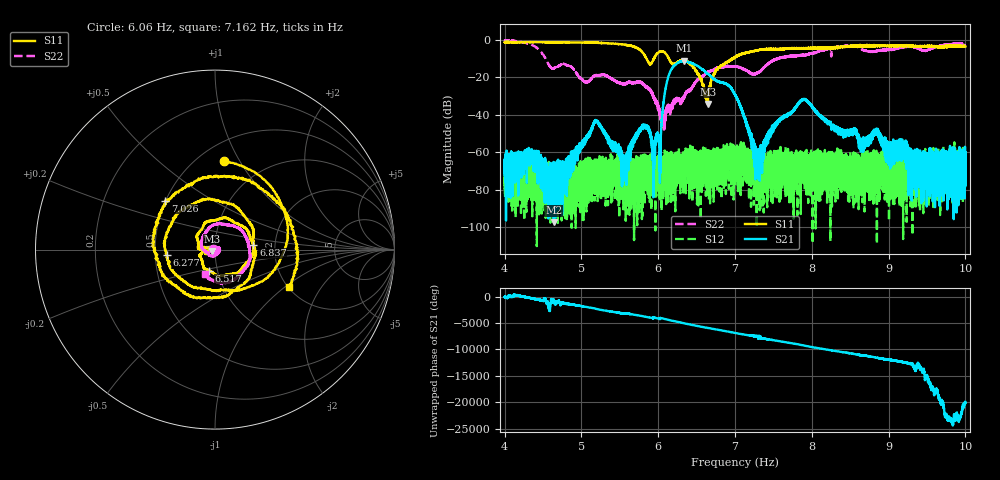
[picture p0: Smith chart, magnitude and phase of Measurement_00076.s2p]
!Created with skrf (http://scikit-rf.org).
# Hz S RI R 50.0
!freq ReS11 ImS11 ReS21 ImS21 ReS12 ImS12 ReS22 ImS22
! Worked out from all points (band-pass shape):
!   14001 points, 4 Hz to 10 Hz, reference 50 ohm
!   highest |S21| = -11.06 dB at 6.338 Hz (marker M1); lowest = -97.5 dB at 4.64 Hz (marker M2)
!   |S21| within 3 dB of the highest: 6.198524 Hz to 6.199294 Hz (770.4 uHz wide, 0.0124 % of centre); 6.199 Hz to 6.521 Hz (321.9 mHz wide, 5.06 % of centre) (the widest 2 of 3)
!   lowest |S11| = -34.2 dB at 6.644 Hz (marker M3), VSWR 1.04, Z = 48.3 - j0.963 ohm
!   |S11| at or under -10 dB: 5.849 Hz to 5.943 Hz (94.46 mHz wide, 1.6 % of centre); 6.141 Hz to 6.96 Hz (818.6 mHz wide, 12.5 % of centre); 6.96033 Hz to 6.962495 Hz (2.165 mHz wide, 0.0311 % of centre)
!   |S22| runs from -48.0 to -0.2 dB; largest |S21 - S12| = 0.28
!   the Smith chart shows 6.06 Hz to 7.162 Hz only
!   S11 on the Smith chart (normalised r, x): 6.06 Hz: 0.66, +0.86; 6.277 Hz: 0.57, -0.04; 6.517 Hz: 0.91, -0.22; 6.837 Hz: 1.54, +0.08; 7.026 Hz: 0.50, +0.32; 7.162 Hz: 2.02, -1.08
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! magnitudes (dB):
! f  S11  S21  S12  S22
! 4 Hz  -1.1  -69.7  -75.3  -0.2
! 4.64 Hz  -1.1  -97.5  -73.1  -15.1
! 5 Hz  -1.3  -56.8  -72.8  -20.9
! 5.19 Hz  -1.4  -43.6  -66.8  -18.8
! 5.559 Hz  -2.4  -67.5  -80.5  -23.4
! 5.802 Hz  -6.8  -45.9  -61.5  -23.5
! 6 Hz  -6.6  -51.0  -80.5  -35.5
! 6.06 Hz  -6.1  -36.7  -77.8  -40.2
! 6.139 Hz  -9.8  -18.5  -65.9  -36.3
! 6.277 Hz  -11.3  -11.7  -63.4  -31.5
! 6.338 Hz  -10.9  -11.1  -63.1  -31.1
! 6.517 Hz  -18.3  -13.9  -62.9  -21.3
! 6.644 Hz  -34.2  -17.9  -67.3  -17.0
! 6.837 Hz  -13.3  -22.7  -78.2  -14.5
! 7 Hz  -9.1  -29.1  -62.4  -14.1
! 7.026 Hz  -8.2  -31.0  -74.0  -14.2
! 7.162 Hz  -6.7  -45.9  -67.9  -16.6
! 7.306 Hz  -5.4  -70.5  -71.0  -17.4
! 7.578 Hz  -4.9  -43.0  -62.5  -9.7
! 8 Hz  -4.5  -35.3  -67.8  -6.9
! 9 Hz  -3.1  -64.6  -65.6  -5.0
! 10 Hz  -3.5  -66.3  -66.3  -3.1
